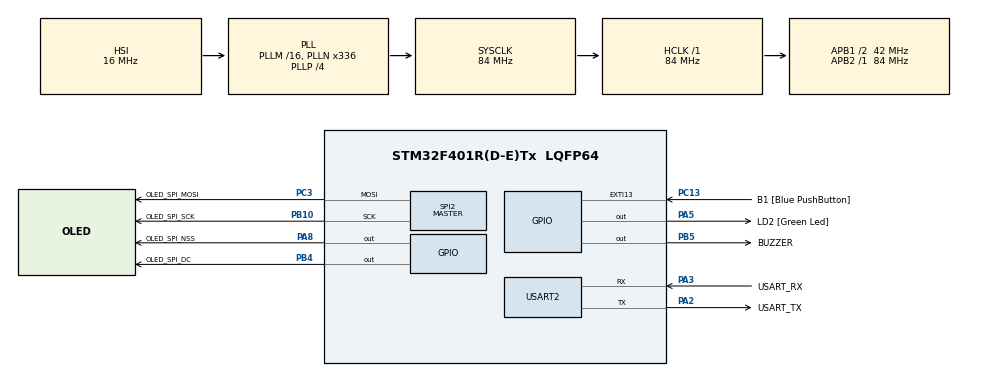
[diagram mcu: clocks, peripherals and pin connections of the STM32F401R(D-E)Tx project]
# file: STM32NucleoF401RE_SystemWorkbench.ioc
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Mcu.Family=STM32F4
PC3.Mode=TX_Only_Simplex_Unidirect_Master
PC15-OSC32_OUT.Mode=LSE-External-Oscillator
PA2.GPIO_PuPd=GPIO_NOPULL
RCC.CortexFreq_Value=84000000
PC13-ANTI_TAMP.GPIO_PuPd=GPIO_NOPULL
SPI2.VirtualType=VM_MASTER
PB10.Mode=TX_Only_Simplex_Unidirect_Master
PC13-ANTI_TAMP.GPIO_Label=B1 [Blue PushButton]
PA14.GPIO_Label=TCK
PA3.GPIO_PuPd=GPIO_NOPULL
PH1\ -\ OSC_OUT.Mode=HSE-External-Clock-Source
PA2.GPIO_Speed=GPIO_SPEED_FREQ_LOW
RCC.APB1CLKDivider=RCC_HCLK_DIV2
PC14-OSC32_IN.Signal=RCC_OSC32_IN
PA3.GPIO_Speed=GPIO_SPEED_FREQ_LOW
RCC.SYSCLKSource=RCC_SYSCLKSOURCE_PLLCLK
ProjectManager.StackSize=0x400
PA3.Mode=Asynchronous
PA13.Signal=SYS_JTMS-SWDIO
PH0\ -\ OSC_IN.Mode=HSE-External-Clock-Source
PA8.GPIO_Label=OLED_SPI_NSS
PH0\ -\ OSC_IN.Signal=RCC_OSC_IN
ProjectManager.TargetToolchain=SW4STM32
PB10.GPIO_Label=OLED_SPI_SCK
PA3.GPIO_Mode=GPIO_MODE_AF_PP
RCC.HCLKFreq_Value=84000000
RCC.APB2TimFreq_Value=84000000
PC3.Signal=SPI2_MOSI
PC15-OSC32_OUT.Signal=RCC_OSC32_OUT
RCC.AHBFreq_Value=84000000
PB10.Signal=SPI2_SCK
PA5.Signal=GPIO_Output
RCC.HSE_VALUE=8000000
PH1\ -\ OSC_OUT.Signal=RCC_OSC_OUT
board=NUCLEO-F401RE
PC13-ANTI_TAMP.Signal=GPXTI13
RCC.VCOOutputFreq_Value=336000000
RCC.APB2Freq_Value=84000000
PC14-OSC32_IN.Mode=LSE-External-Oscillator
PB4.GPIO_Label=OLED_SPI_DC
PA14.Mode=Serial_Wire
PA5.GPIO_PuPd=GPIO_NOPULL
PA8.Signal=GPIO_Output
PA13.Mode=Serial_Wire
Mcu.Name=STM32F401R(D-E)Tx
PA2.Signal=USART2_TX
PA13.GPIO_Label=TMS
RCC.48MHZClocksFreq_Value=48000000
PB3.Signal=SYS_JTDO-SWO
RCC.SYSCLKFreq_VALUE=84000000
Mcu.Package=LQFP64
PB5.Signal=GPIO_Output
SPI2.Mode=SPI_MODE_MASTER
PA5.GPIO_Label=LD2 [Green Led]
USART2.VirtualMode=VM_ASYNC
PC13-ANTI_TAMP.GPIO_ModeDefaultEXTI=GPIO_MODE_IT_FALLING
PA2.GPIO_Label=USART_TX
PA14.Signal=SYS_JTCK-SWCLK
ProjectManager.HeapSize=0x200
RCC.HSI_VALUE=16000000
RCC.PLLP=RCC_PLLP_DIV4
PA5.GPIO_Speed=GPIO_SPEED_FREQ_LOW
RCC.PLLQ=7
NVIC.PriorityGroup=NVIC_PRIORITYGROUP_0
PB5.GPIO_Label=BUZZER
RCC.PLLN=336
RCC.APB1TimFreq_Value=84000000
PA2.Mode=Asynchronous
PC3.GPIO_Label=OLED_SPI_MOSI
SPI2.Direction=SPI_DIRECTION_2LINES
RCC.APB1Freq_Value=42000000
PA5.GPIO_Mode=GPIO_MODE_OUTPUT_PP
PB4.Signal=GPIO_Output
PA3.GPIO_Label=USART_RX
PA3.Signal=USART2_RX
PA2.GPIO_Mode=GPIO_MODE_AF_PP
PB3.GPIO_Label=SWO

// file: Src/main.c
/* USER CODE BEGIN Header */
/**
  ******************************************************************************
  * @file           : main.c
  * @brief          : Main program body
  ******************************************************************************
  * @attention
  *
  * <h2><center>&copy; Copyright (c) 2020 STMicroelectronics.
  * All rights reserved.</center></h2>
  *
  * This software component is licensed by ST under BSD 3-Clause license,
  * the "License"; You may not use this file except in compliance with the
  * License. You may obtain a copy of the License at:
  *                        opensource.org/licenses/BSD-3-Clause
  *
  ******************************************************************************
  */
/* USER CODE END Header */

#include "main.h"

/* USER CODE BEGIN Includes */
#include <stdio.h>
#include "SSD1322/SSD1322.h"
#include "fonts.h"
#include "images.h"
/* USER CODE END Includes */

SPI_HandleTypeDef hspi2;

UART_HandleTypeDef huart2;

void SystemClock_Config(void);
static void MX_GPIO_Init(void);
static void MX_USART2_UART_Init(void);
static void MX_SPI2_Init(void);

/* USER CODE BEGIN 0 */

static void _sendCommand(uint8_t command) {
    HAL_GPIO_WritePin(OLED_SPI_NSS_GPIO_Port, OLED_SPI_NSS_Pin, GPIO_PIN_SET);
    HAL_GPIO_WritePin(OLED_SPI_DC_GPIO_Port, OLED_SPI_DC_Pin, GPIO_PIN_RESET);
    HAL_GPIO_WritePin(OLED_SPI_NSS_GPIO_Port, OLED_SPI_NSS_Pin, GPIO_PIN_RESET);

    HAL_SPI_Transmit(&hspi2, &command, 1, 0xFF);
    //HAL_Delay(0);

    HAL_GPIO_WritePin(OLED_SPI_NSS_GPIO_Port, OLED_SPI_NSS_Pin, GPIO_PIN_SET);
}

static void _sendData(uint8_t *data, int32_t length) {
    HAL_GPIO_WritePin(OLED_SPI_NSS_GPIO_Port, OLED_SPI_NSS_Pin, GPIO_PIN_SET);
    HAL_GPIO_WritePin(OLED_SPI_DC_GPIO_Port, OLED_SPI_DC_Pin, GPIO_PIN_SET);
    HAL_GPIO_WritePin(OLED_SPI_NSS_GPIO_Port, OLED_SPI_NSS_Pin, GPIO_PIN_RESET);

    HAL_SPI_Transmit(&hspi2, data, length, 0xFF);
    //HAL_Delay(0);

    HAL_GPIO_WritePin(OLED_SPI_NSS_GPIO_Port, OLED_SPI_NSS_Pin, GPIO_PIN_SET);
}

/* USER CODE END 0 */

int main(void)
{

  /* MCU Configuration--------------------------------------------------------*/

  /* Reset of all peripherals, Initializes the Flash interface and the Systick. */
  HAL_Init();

  /* Configure the system clock */
  SystemClock_Config();

  /* Initialize all configured peripherals */
  MX_GPIO_Init();
  MX_USART2_UART_Init();
  MX_SPI2_Init();
  /* USER CODE BEGIN 2 */
  //ssd1322_init(&hspi2, OLED_SPI_NSS_GPIO_Port, OLED_SPI_NSS_Pin, OLED_SPI_DC_GPIO_Port, OLED_SPI_DC_Pin);
    ssd1322_init(_sendCommand, _sendData);
    MTGLInitStruct mtgl_init = {
        .screen_size.width = SSD1322_SCREEN_WIDTH,
        .screen_size.height = SSD1322_SCREEN_HEIGHT,
        .screen_bpp = SSD1322_SCREEN_BPP,
        .screen_buffer = ssd1322_screen_buffer,
        .flushBufferFunction = ssd1322_flushBuffer,
    };
    MTGL_attachHAL(&mtgl_init);
    /* USER CODE END 2 */

  /* Infinite loop */
  /* USER CODE BEGIN WHILE */
  int32_t i = -64;
  uint8_t txt[] = "Reset\n";
  HAL_UART_Transmit(&huart2, txt, sizeof(txt), 1000);

  char text_buffer[128] = "";
  float counter = 1;

  uint32_t frame_time = 0;
  const Image *img = &image_banana;
  uint8_t brightness = 0;
  while (1) {
	uint32_t time_start = HAL_GetTick();
	MTGL_fill(0);

	MTGL_drawImageBrightness((256 - img->width), (64 - img->height) / 2, img, brightness);

	//snprintf(text_buffer, sizeof(text_buffer), "AsDg\n2342\nasz\n24eADAD");
	//MTGL_drawString(text_buffer, 10 + i, -i, &font_cherry_monospace_light_28_2bpp, 1.2f);

	//snprintf(text_buffer, sizeof(text_buffer), "%lums", frame_time);
	//MTGL_drawString(text_buffer, 0, 0, &font_px_sans_nouveaux_8_1bpp, 1.5f);
	//MTGL_drawString(text_buffer, 0, 10, &font_px_sans_nouveaux_12_1bpp, 1.5f);

	MTGLSize area = { 256, 64 };
	snprintf(text_buffer, sizeof(text_buffer), "1 First line to align\n2 And second align\n3 me too . . . long long long long text");
	float spacing = 1.0f;

	int x1 = 0;
	int x2 = 255;
	int y1 = 0;
	int y2 = 63;
	int steps = 8;
	int step = 256 / steps;
	for (int x = -2; x < steps + 2; x++) {
	    if (x % 2) {
	        MTGL_drawLine(i + x * step, y1, i + x * step + step, y2, 17);
	    }
	    else {
	        MTGL_drawLine(i + x * step, y2, i + x * step + step, y1, 17);
	    }
	}

	MTGL_drawLine(x1, y1, x2, y1, 0xFF);
	MTGL_drawLine(x2, y1, x2, y2, 0xFF);
	MTGL_drawLine(x2, y2, x1, y2, 0xFF);
	MTGL_drawLine(x1, y2, x1, y1, 0xFF);

	//TextAlignment a = (uint8_t)i % 16;
	TextAlignment a = TEXT_ALIGNMENT_TOP_LEFT;
	StringFormat format = {
        .font = &font_px_sans_nouveaux_8_1bpp,
        .line_spacing = spacing,
        .brightness = brightness,
        .area = area,
        .alignment = a,
    };
	MTGL_drawString(text_buffer, 0, 0, &format);

	//HAL_Delay(100);
	MTGL_flushBuffer();
	uint32_t time_end = HAL_GetTick();
	frame_time = time_end - time_start;

//	HAL_GPIO_WritePin(BUZZER_GPIO_Port, BUZZER_Pin, GPIO_PIN_SET);
//	HAL_Delay(50);
//	HAL_GPIO_WritePin(BUZZER_GPIO_Port, BUZZER_Pin, GPIO_PIN_RESET);

//	HAL_GPIO_WritePin(LD2_GPIO_Port, LD2_Pin, GPIO_PIN_SET);
//	HAL_Delay(50);
//	HAL_GPIO_WritePin(LD2_GPIO_Port, LD2_Pin, GPIO_PIN_RESET);

	HAL_GPIO_TogglePin(LD2_GPIO_Port, LD2_Pin);

	//uint8_t txt[] = "UART Test\n";
	//HAL_UART_Transmit(&huart2, txt, sizeof(txt), 1000);

	i++;
	if (i > step * 2) {
	  i = 0;
	}
	counter += 0.01;
	brightness += 1;
	HAL_Delay(1);
    /* USER CODE END WHILE */

  }
}

void SystemClock_Config(void)
{
  RCC_OscInitTypeDef RCC_OscInitStruct = {0};
  RCC_ClkInitTypeDef RCC_ClkInitStruct = {0};

  /** Configure the main internal regulator output voltage
  */
  __HAL_RCC_PWR_CLK_ENABLE();
  __HAL_PWR_VOLTAGESCALING_CONFIG(PWR_REGULATOR_VOLTAGE_SCALE2);
  /** Initializes the CPU, AHB and APB busses clocks
  */
  RCC_OscInitStruct.OscillatorType = RCC_OSCILLATORTYPE_HSI;
  RCC_OscInitStruct.HSIState = RCC_HSI_ON;
  RCC_OscInitStruct.HSICalibrationValue = RCC_HSICALIBRATION_DEFAULT;
  RCC_OscInitStruct.PLL.PLLState = RCC_PLL_ON;
  RCC_OscInitStruct.PLL.PLLSource = RCC_PLLSOURCE_HSI;
  RCC_OscInitStruct.PLL.PLLM = 16;
  RCC_OscInitStruct.PLL.PLLN = 336;
  RCC_OscInitStruct.PLL.PLLP = RCC_PLLP_DIV4;
  RCC_OscInitStruct.PLL.PLLQ = 7;
  if (HAL_RCC_OscConfig(&RCC_OscInitStruct) != HAL_OK)
  {
    Error_Handler();
  }
  /** Initializes the CPU, AHB and APB busses clocks
  */
  RCC_ClkInitStruct.ClockType = RCC_CLOCKTYPE_HCLK|RCC_CLOCKTYPE_SYSCLK
                              |RCC_CLOCKTYPE_PCLK1|RCC_CLOCKTYPE_PCLK2;
  RCC_ClkInitStruct.SYSCLKSource = RCC_SYSCLKSOURCE_PLLCLK;
  RCC_ClkInitStruct.AHBCLKDivider = RCC_SYSCLK_DIV1;
  RCC_ClkInitStruct.APB1CLKDivider = RCC_HCLK_DIV2;
  RCC_ClkInitStruct.APB2CLKDivider = RCC_HCLK_DIV1;

  if (HAL_RCC_ClockConfig(&RCC_ClkInitStruct, FLASH_LATENCY_2) != HAL_OK)
  {
    Error_Handler();
  }
}

static void MX_SPI2_Init(void)
{

  /* SPI2 parameter configuration*/
  hspi2.Instance = SPI2;
  hspi2.Init.Mode = SPI_MODE_MASTER;
  hspi2.Init.Direction = SPI_DIRECTION_2LINES;
  hspi2.Init.DataSize = SPI_DATASIZE_8BIT;
  hspi2.Init.CLKPolarity = SPI_POLARITY_LOW;
  hspi2.Init.CLKPhase = SPI_PHASE_1EDGE;
  hspi2.Init.NSS = SPI_NSS_SOFT;
  hspi2.Init.BaudRatePrescaler = SPI_BAUDRATEPRESCALER_2;
  hspi2.Init.FirstBit = SPI_FIRSTBIT_MSB;
  hspi2.Init.TIMode = SPI_TIMODE_DISABLE;
  hspi2.Init.CRCCalculation = SPI_CRCCALCULATION_DISABLE;
  hspi2.Init.CRCPolynomial = 10;
  if (HAL_SPI_Init(&hspi2) != HAL_OK)
  {
    Error_Handler();
  }

}

static void MX_USART2_UART_Init(void)
{

  huart2.Instance = USART2;
  huart2.Init.BaudRate = 115200;
  huart2.Init.WordLength = UART_WORDLENGTH_8B;
  huart2.Init.StopBits = UART_STOPBITS_1;
  huart2.Init.Parity = UART_PARITY_NONE;
  huart2.Init.Mode = UART_MODE_TX_RX;
  huart2.Init.HwFlowCtl = UART_HWCONTROL_NONE;
  huart2.Init.OverSampling = UART_OVERSAMPLING_16;
  if (HAL_UART_Init(&huart2) != HAL_OK)
  {
    Error_Handler();
  }

}

static void MX_GPIO_Init(void)
{
  GPIO_InitTypeDef GPIO_InitStruct = {0};

  /* GPIO Ports Clock Enable */
  __HAL_RCC_GPIOC_CLK_ENABLE();
  __HAL_RCC_GPIOH_CLK_ENABLE();
  __HAL_RCC_GPIOA_CLK_ENABLE();
  __HAL_RCC_GPIOB_CLK_ENABLE();

  /*Configure GPIO pin Output Level */
  HAL_GPIO_WritePin(GPIOA, LD2_Pin|OLED_SPI_NSS_Pin, GPIO_PIN_RESET);

  /*Configure GPIO pin Output Level */
  HAL_GPIO_WritePin(GPIOB, OLED_SPI_DC_Pin|BUZZER_Pin, GPIO_PIN_RESET);

  /*Configure GPIO pin : B1_Pin */
  GPIO_InitStruct.Pin = B1_Pin;
  GPIO_InitStruct.Mode = GPIO_MODE_IT_FALLING;
  GPIO_InitStruct.Pull = GPIO_NOPULL;
  HAL_GPIO_Init(B1_GPIO_Port, &GPIO_InitStruct);

  /*Configure GPIO pins : LD2_Pin OLED_SPI_NSS_Pin */
  GPIO_InitStruct.Pin = LD2_Pin|OLED_SPI_NSS_Pin;
  GPIO_InitStruct.Mode = GPIO_MODE_OUTPUT_PP;
  GPIO_InitStruct.Pull = GPIO_NOPULL;
  GPIO_InitStruct.Speed = GPIO_SPEED_FREQ_LOW;
  HAL_GPIO_Init(GPIOA, &GPIO_InitStruct);

  /*Configure GPIO pins : OLED_SPI_DC_Pin BUZZER_Pin */
  GPIO_InitStruct.Pin = OLED_SPI_DC_Pin|BUZZER_Pin;
  GPIO_InitStruct.Mode = GPIO_MODE_OUTPUT_PP;
  GPIO_InitStruct.Pull = GPIO_NOPULL;
  GPIO_InitStruct.Speed = GPIO_SPEED_FREQ_LOW;
  HAL_GPIO_Init(GPIOB, &GPIO_InitStruct);

}

void Error_Handler(void)
{
}

/************************ (C) COPYRIGHT STMicroelectronics *****END OF FILE****/
